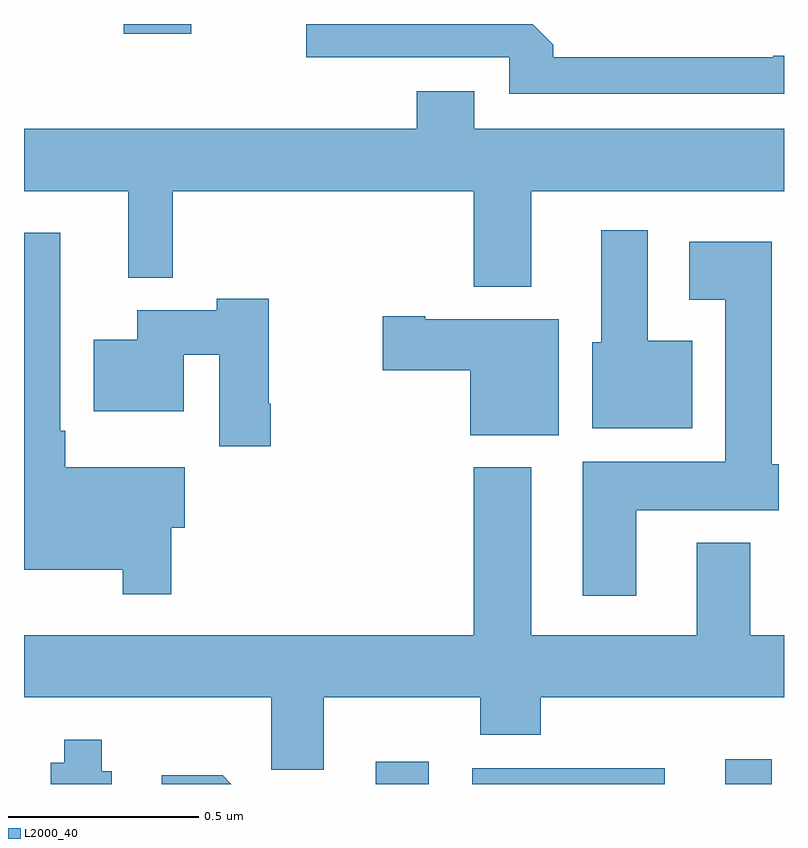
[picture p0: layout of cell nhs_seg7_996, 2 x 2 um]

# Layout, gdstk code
import gdstk
lib = gdstk.Library(unit=1e-6, precision=1e-09)
def R(c, l, rs):  # rectangles x0, y0, x1, y1
    for r in rs: c.add(gdstk.rectangle(r[:2], r[2:], *l))
def P(c, l, *ps):  # polygons
    for p in ps: c.add(gdstk.Polygon(p, *l))
L2000_40 = (2000, 40)

nhs_seg7_996 = lib.new_cell('nhs_seg7_996')
R(nhs_seg7_996, L2000_40, [(124.925,1055,125.065,1055.059), (125.18,1055,125.686,1055.042), (125.846,1055,125.968,1055.065), (124.262,1056.975,124.44,1057)])
P(nhs_seg7_996, L2000_40, [(126,1056.917),(125.972,1056.917),(125.972,1056.912),(125.393,1056.912),(125.393,1056.946),(125.339,1057),(124.743,1057),(124.743,1056.912),(125.277,1056.912),(125.277,1056.816),(126,1056.816)],
  [(125.335,1056.56),(126,1056.56),(126,1056.724),(125.185,1056.724),(125.185,1056.823),(125.033,1056.823),(125.033,1056.724),(124,1056.724),(124,1056.56),(124.274,1056.56),(124.274,1056.332),(124.391,1056.332),(124.391,1056.56),(125.183,1056.56),(125.183,1056.308),(125.335,1056.308)],
  [(125.758,1056.166),(125.641,1056.166),(125.641,1056.457),(125.519,1056.457),(125.519,1056.162),(125.495,1056.162),(125.495,1055.936),(125.758,1055.936)],
  [(124.388,1055.675),(124.423,1055.675),(124.423,1055.833),(124.108,1055.833),(124.108,1055.929),(124.095,1055.929),(124.095,1056.451),(124,1056.451),(124,1055.564),(124.26,1055.564),(124.26,1055.499),(124.388,1055.499)],
  [(125.611,1055.72),(125.986,1055.72),(125.986,1055.841),(125.968,1055.841),(125.968,1056.427),(125.751,1056.427),(125.751,1056.275),(125.846,1056.275),(125.846,1055.848),(125.471,1055.848),(125.471,1055.496),(125.611,1055.496)],
  [(124.649,1056.001),(124.644,1056.001),(124.644,1056.277),(124.507,1056.277),(124.507,1056.247),(124.298,1056.247),(124.298,1056.169),(124.184,1056.169),(124.184,1055.981),(124.42,1055.981),(124.42,1056.13),(124.514,1056.13),(124.514,1055.889),(124.649,1055.889)],
  [(125.407,1056.223),(125.056,1056.223),(125.056,1056.231),(124.944,1056.231),(124.944,1056.089),(125.174,1056.089),(125.174,1055.918),(125.407,1055.918)],
  [(124.789,1055.228),(125.2,1055.228),(125.2,1055.129),(125.36,1055.129),(125.36,1055.228),(126,1055.228),(126,1055.392),(125.911,1055.392),(125.911,1055.635),(125.771,1055.635),(125.771,1055.392),(125.335,1055.392),(125.335,1055.833),(125.183,1055.833),(125.183,1055.392),(124,1055.392),(124,1055.228),(124.65,1055.228),(124.65,1055.038),(124.789,1055.038)],
  [(124.231,1055.034),(124.204,1055.034),(124.204,1055.116),(124.106,1055.116),(124.106,1055.056),(124.07,1055.056),(124.07,1055),(124.231,1055)],
  [(124.523,1055.023),(124.362,1055.023),(124.362,1055),(124.546,1055)])

lib.write_gds('nhs_seg7_996.gds')
